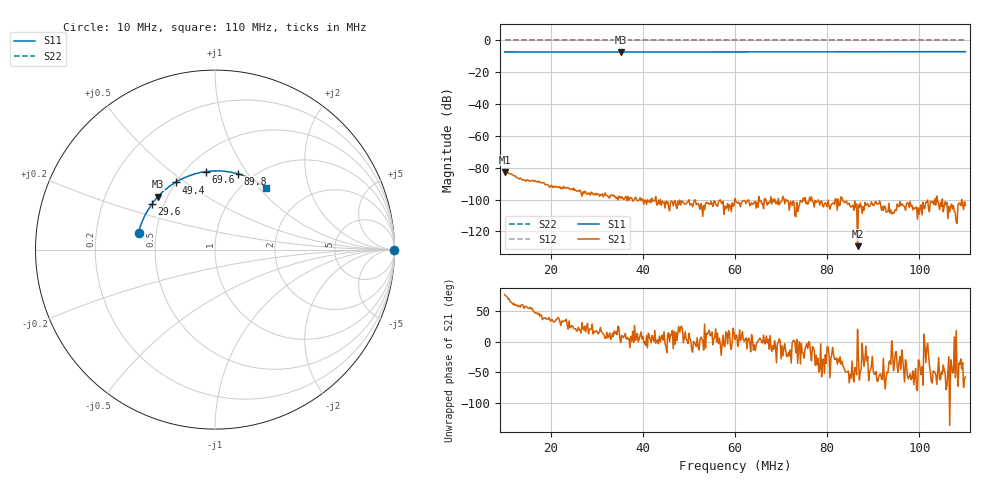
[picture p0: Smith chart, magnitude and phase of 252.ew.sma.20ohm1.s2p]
! Anritsu VNA Master:  Model: MS2036C/10/77
! SN:  1601066
! /card0/usr/20ohm1.s2p
! Existing Calibration Information:
! TYPE:  Current Settings,  Active Cal Settings
! TIME:  12/20/2017 03:44:21 PM,  12/20/2017 03:36:34 PM
! INTERNAL TEMP:  44.8 C,  44.5 C
! # POINTS:  501,  501
! START FREQ:  10.000 MHz,  10.000 MHz
! STOP FREQ:  110.000 MHz,  110.000 MHz
! SOURCE POWER:  High,  High
! IFBW:  100 Hz,  100 Hz
! AVG FACTOR:  1 ,  1
! REF PLANE 1:  0 mm,  0 mm
! REF PLANE 2:  0 mm,  0 mm
! CAL TYPE:  Full S11,  Full S11
! CAL METHOD:  SOLT,  SOLT
! CAL LINE TYPE:  Coax,  Coax
! DUT PORT 1:  K-Conn(F),  K-Conn(F)
! DUT PORT 2:  K-Conn(F),  K-Conn(F)
! CAL STATUS:  OK: Accuracy High,  --
# GHZ S DB R 50.0
! FREQ.GHZ  S11DB  S11A  S21DB  S21A  S12DB  S12A  S22DB  S22A
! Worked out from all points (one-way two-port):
!   501 points, 10 MHz to 110 MHz, reference 50 ohm
!   highest |S21| = -82.57 dB at 10 MHz (marker M1); lowest = -129.2 dB at 86.6 MHz (marker M2)
!   lowest |S11| = -7.3 dB at 35.2 MHz (marker M3), VSWR 2.53, Z = 22.3 + j16.2 ohm
!   |S11| at or under -10 dB: nowhere
!   |S22| runs from 0.0 to 0.0 dB; largest |S21 - S12| = 1
!   S11 on the Smith chart (normalised r, x): 10 MHz: 0.40, +0.09; 29.6 MHz: 0.43, +0.27; 49.4 MHz: 0.50, +0.46; 69.6 MHz: 0.62, +0.67; 89.8 MHz: 0.85, +0.90; 110 MHz: 1.27, +1.09
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0.01  -7.20 167.6  -82.57 77.5  0.00 0.0  0.00 0.0
0.0142  -7.21 162.5  -87.66 54.8  0.00 0.0  0.00 0.0
0.0192  -7.24 156.4  -90.62 37.9  0.00 0.0  0.00 0.0
0.0268  -7.27 147.2  -97.92 31.4  0.00 0.0  0.00 0.0
0.0296  -7.25 144.0  -96.12 16.1  0.00 0.0  0.00 0.0
0.0352  -7.27 137.1  -99.34 -1.1  0.00 0.0  0.00 0.0
0.041  -7.23 130.3  -100.09 -9.6  0.00 0.0  0.00 0.0
0.0434  -7.25 127.3  -100.25 -3.1  0.00 0.0  0.00 0.0
0.0476  -7.23 122.4  -100.88 15.1  0.00 0.0  0.00 0.0
0.0494  -7.25 120.4  -102.74 4.0  0.00 0.0  0.00 0.0
0.0548  -7.21 113.9  -101.12 10.3  0.00 0.0  0.00 0.0
0.06  -7.22 107.9  -99.34 3.4  0.00 0.0  0.00 0.0
0.0624  -7.19 105.0  -102.55 6.4  0.00 0.0  0.00 0.0
0.0696  -7.17 96.7  -103.39 5.0  0.00 0.0  0.00 0.0
0.0768  -7.16 88.4  -101.29 -7.6  0.00 0.0  0.00 0.0
0.0814  -7.13 83.0  -101.69 -21.2  0.00 0.0  0.00 0.0
0.0866  -7.13 77.0  -129.24 20.6  0.00 0.0  0.00 0.0
0.0898  -7.11 73.4  -102.56 -23.5  0.00 0.0  0.00 0.0
0.0934  -7.11 69.3  -102.25 -33.1  0.00 0.0  0.00 0.0
0.1006  -7.07 61.1  -109.60 -40.5  0.00 0.0  0.00 0.0
0.1064  -7.05 54.4  -104.42 -24.2  0.00 0.0  0.00 0.0
0.11  -7.03 50.5  -103.62 -57.2  0.00 0.0  0.00 0.0
